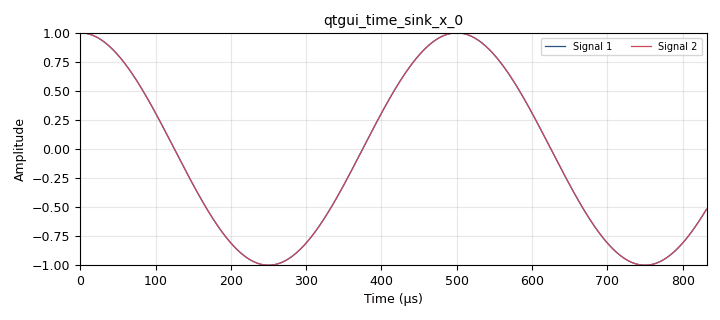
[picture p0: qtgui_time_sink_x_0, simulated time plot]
options:
  parameters:
    generate_options: qt_gui
    id: mfcw_prototype
    output_language: python
    title: mfcw_prototype
  states: {}

blocks:
- name: calibrate
  id: variable_qtgui_range
  parameters:
    start: '-100'
    step: '1'
    stop: '100'
    value: '0'
  states: {}
- name: carrier_rate
  id: variable_qtgui_range
  parameters:
    start: 2.4e9
    step: 5e6
    stop: 2.5e9
    value: 2.45e9
  states: {}
- name: samp_rate
  id: variable
  parameters:
    value: '600000'
  states: {}
- name: analog_agc_xx_0
  id: analog_agc_xx
  parameters:
    gain: '1.0'
    max_gain: '65536'
    rate: '1e-4'
    reference: '1.0'
    type: complex
  states: {}
- name: analog_agc_xx_0_0
  id: analog_agc_xx
  parameters:
    gain: '1.0'
    max_gain: '65536'
    rate: '1e-4'
    reference: '1.0'
    type: complex
  states: {}
- name: analog_sig_source_x_0
  id: analog_sig_source_x
  parameters:
    amp: '1'
    freq: '2000'
    offset: '0'
    phase: '0'
    samp_rate: samp_rate
    type: complex
    waveform: analog.GR_COS_WAVE
  states: {}
- name: blocks_complex_to_arg_0
  id: blocks_complex_to_arg
  parameters: {}
  states: {}
- name: blocks_complex_to_mag_squared_0
  id: blocks_complex_to_mag_squared
  parameters: {}
  states: {}
- name: blocks_complex_to_real_0
  id: blocks_complex_to_real
  parameters: {}
  states: {}
- name: blocks_complex_to_real_0_0
  id: blocks_complex_to_real
  parameters: {}
  states: {}
- name: blocks_delay_0
  id: blocks_delay
  parameters:
    delay: '0'
    type: complex
  states: {}
- name: blocks_multiply_conjugate_cc_0
  id: blocks_multiply_conjugate_cc
  parameters: {}
  states: {}
- name: osmosdr_sink_0
  id: osmosdr_sink
  parameters:
    bb_gain0: '20'
    freq0: 2450e6
    gain0: '10'
    if_gain0: '20'
    sample_rate: samp_rate
    sync: sync
    type: fc32
  states: {}
- name: osmosdr_source_0
  id: osmosdr_source
  parameters:
    bb_gain0: '20'
    freq0: 2450e6
    gain0: '10'
    gain_mode0: 'False'
    if_gain0: '20'
    sample_rate: samp_rate
    sync: sync
    type: fc32
  states: {}
- name: qtgui_histogram_sink_x_0
  id: qtgui_histogram_sink_x
  parameters:
    bins: '100'
    size: '1000'
    type: float
    xmax: '3.14'
    xmin: '-3.14'
  states: {}
- name: qtgui_number_sink_0
  id: qtgui_number_sink
  parameters:
    graph_type: qtgui.NUM_GRAPH_HORIZ
    type: float
  states: {}
- name: qtgui_sink_x_0
  id: qtgui_sink_x
  parameters:
    bw: samp_rate
    fc: '0'
    fftsize: '1024'
    type: float
  states: {}
- name: qtgui_time_sink_x_0
  id: qtgui_time_sink_x
  parameters:
    nconnections: '2'
    size: '500'
    srate: samp_rate
    type: float
  states: {}

connections:
- [analog_agc_xx_0, '0', blocks_complex_to_real_0, '0']
- [analog_agc_xx_0, '0', blocks_complex_to_real_0_0, '0']
- [analog_agc_xx_0, '0', blocks_multiply_conjugate_cc_0, '0']
- [analog_agc_xx_0_0, '0', blocks_multiply_conjugate_cc_0, '1']
- [analog_sig_source_x_0, '0', analog_agc_xx_0, '0']
- [analog_sig_source_x_0, '0', osmosdr_sink_0, '0']
- [blocks_complex_to_arg_0, '0', qtgui_histogram_sink_x_0, '0']
- [blocks_complex_to_arg_0, '0', qtgui_number_sink_0, '0']
- [blocks_complex_to_mag_squared_0, '0', qtgui_sink_x_0, '0']
- [blocks_complex_to_real_0, '0', qtgui_time_sink_x_0, '0']
- [blocks_complex_to_real_0_0, '0', qtgui_time_sink_x_0, '1']
- [blocks_delay_0, '0', analog_agc_xx_0_0, '0']
- [blocks_multiply_conjugate_cc_0, '0', blocks_complex_to_arg_0, '0']
- [blocks_multiply_conjugate_cc_0, '0', blocks_complex_to_mag_squared_0, '0']
- [osmosdr_source_0, '0', blocks_delay_0, '0']

metadata:
  file_format: 1
  grc_version: 3.9.8.0
